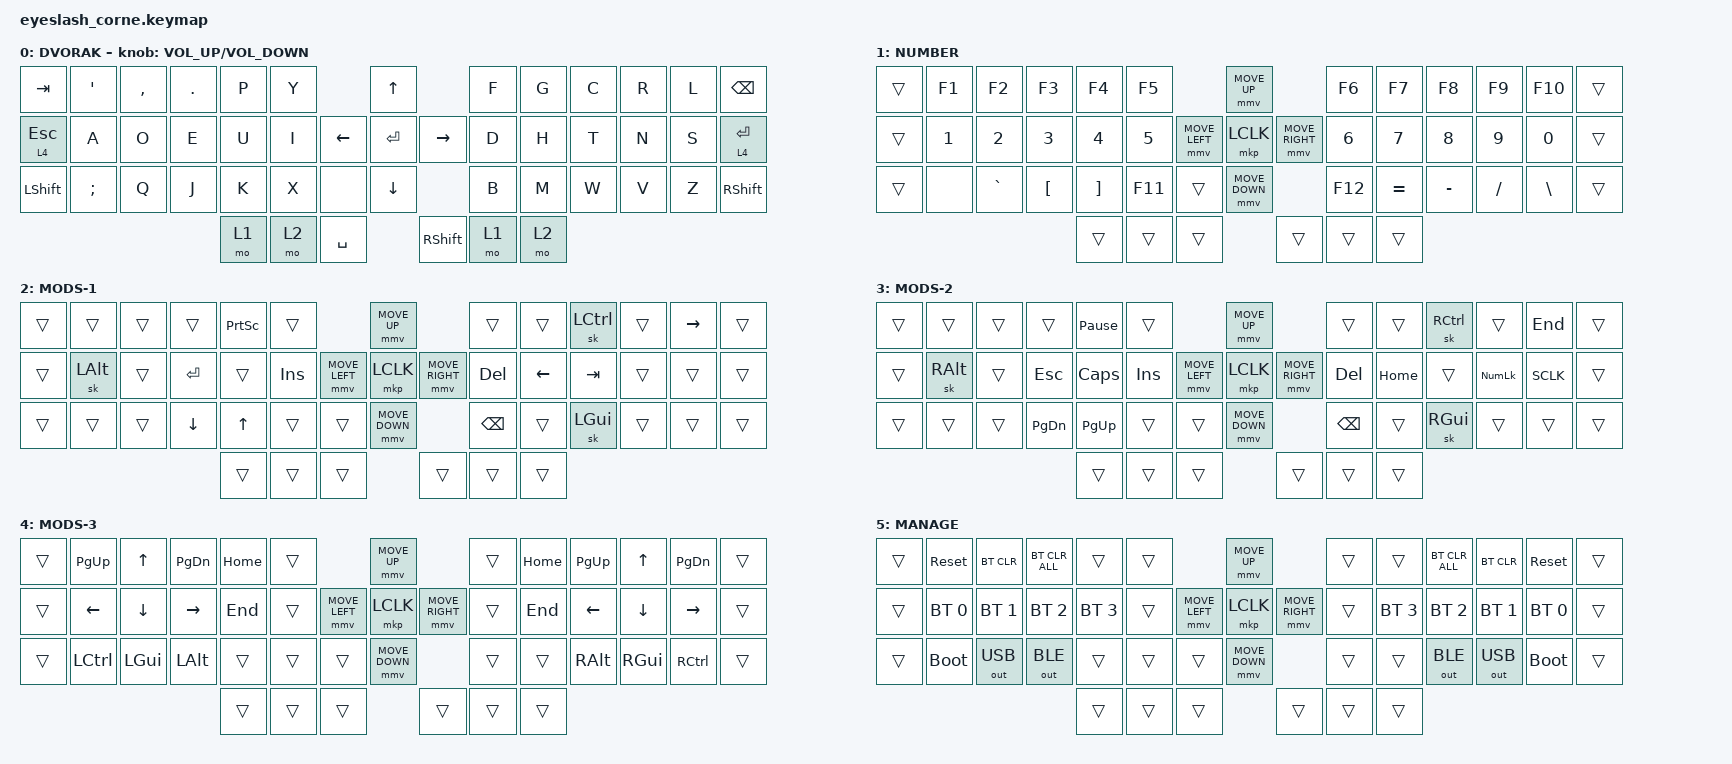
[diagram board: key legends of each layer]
#define ZMK_POINTING_DEFAULT_MOVE_VAL 1200  // 600
#define ZMK_POINTING_DEFAULT_SCRL_VAL 25   // 10

#include <input/processors.dtsi>
#include <zephyr/dt-bindings/input/input-event-codes.h>
#include <behaviors.dtsi>
#include <dt-bindings/zmk/bt.h>
#include <dt-bindings/zmk/ext_power.h>
#include <dt-bindings/zmk/keys.h>
#include <dt-bindings/zmk/pointing.h>
#include <dt-bindings/zmk/outputs.h>
#include <dt-bindings/zmk/rgb.h>

&mmv_input_listener { input-processors = <&zip_xy_scaler 2 1>; };

&msc_input_listener { input-processors = <&zip_scroll_scaler 2 1>; };

&msc {
    acceleration-exponent = <1>;      // 0
    time-to-max-speed-ms = <100>;       // 300
    delay-ms = <0>;                   // 0
};

&mmv {
    time-to-max-speed-ms = <500>;
    acceleration-exponent = <1>;
    trigger-period-ms = <16>;
};


/ {
    conditional_layers {
        compatible = "zmk,conditional-layers";
        tri_layer_mods2 {
            if-layers = <1 2>;
            then-layer = <3>;
        };
        tri_layer_mgmt {
            if-layers = <3 4>;
            then-layer = <5>;
        };
    };

    keymap {
        compatible = "zmk,keymap";

        layer_0 {
            display-name = "DVORAK";
            bindings = <
&kp TAB    &kp SQT     &kp COMMA   &kp DOT     &kp P       &kp Y                        &kp UP                           &kp F        &kp G         &kp C        &kp R        &kp L       &kp BSPC
&lt 4 ESC  &kp A       &kp O       &kp E       &kp U       &kp I       &kp LEFT         &kp ENTER         &kp RIGHT      &kp D        &kp H         &kp T        &kp N        &kp S       &lt 4 ENTER
&kp LSHFT  &kp SEMI    &kp Q       &kp J       &kp K       &kp X       &none            &kp DOWN                         &kp B        &kp M         &kp W        &kp V        &kp Z       &kp RSHFT
                                               &mo 1       &mo 2       &kp SPACE                            &kp RSHFT    &mo 1        &mo 2
            >;
            sensor-bindings = <&inc_dec_kp C_VOLUME_UP C_VOLUME_DOWN>;
        };

        layer_1 {
            display-name = "NUMBER";
            bindings = <
&trans     &kp F1      &kp F2      &kp F3      &kp F4      &kp F5                       &mmv MOVE_UP                     &kp F6       &kp F7        &kp F8        &kp F9      &kp F10     &trans
&trans     &kp N1      &kp N2      &kp N3      &kp N4      &kp N5       &mmv MOVE_LEFT  &mkp LCLK       &mmv MOVE_RIGHT  &kp N6       &kp N7        &kp N8        &kp N9      &kp N0      &trans
&trans     &none       &kp GRAVE   &kp LBKT    &kp RBKT    &kp F11      &trans          &mmv MOVE_DOWN                   &kp F12      &kp EQUAL     &kp MINUS     &kp FSLH    &kp BSLH    &trans
                                               &trans      &trans       &trans                             &trans        &trans       &trans
            >;
        };

        layer_2 {
            display-name = "MODS-1";
            bindings = <
&trans     &trans      &trans      &trans      &kp PSCRN   &trans                       &mmv MOVE_UP                     &trans       &trans       &sk LCTRL    &trans       &kp RIGHT    &trans
&trans     &sk LALT    &trans      &kp ENTER   &trans      &kp INS      &mmv MOVE_LEFT  &mkp LCLK       &mmv MOVE_RIGHT  &kp DELETE   &kp LEFT     &kp TAB      &trans       &trans       &trans
&trans     &trans      &trans      &kp DOWN    &kp UP      &trans       &trans          &mmv MOVE_DOWN                   &kp BSPC     &trans       &sk LGUI     &trans       &trans       &trans
                                               &trans      &trans       &trans                              &trans       &trans       &trans
            >;
        };

        layer_3 {
            display-name = "MODS-2";
            bindings = <
&trans     &trans      &trans      &trans      &kp PAUSE_BREAK &trans                   &mmv MOVE_UP                     &trans       &trans       &sk RCTRL    &trans       &kp END      &trans
&trans     &sk RALT    &trans      &kp ESC     &kp CAPS    &kp INS      &mmv MOVE_LEFT  &mkp LCLK       &mmv MOVE_RIGHT  &kp DELETE   &kp HOME     &trans       &kp KP_NLCK  &kp SCLK     &trans
&trans     &trans      &trans      &kp PG_DN   &kp PG_UP   &trans       &trans          &mmv MOVE_DOWN                   &kp BSPC     &trans       &sk RGUI     &trans       &trans       &trans
                                               &trans      &trans       &trans                              &trans       &trans       &trans
            >;
        };

        layer_4 {
            display-name = "MODS-3";
            bindings = <
&trans     &kp PG_UP   &kp UP      &kp PG_DN   &kp HOME    &trans                       &mmv MOVE_UP                     &trans       &kp HOME     &kp PG_UP   &kp UP      &kp PG_DN      &trans
&trans     &kp LEFT    &kp DOWN    &kp RIGHT   &kp END     &trans       &mmv MOVE_LEFT  &mkp LCLK       &mmv MOVE_RIGHT  &trans       &kp END      &kp LEFT    &kp DOWN    &kp RIGHT      &trans
&trans     &kp LCTRL   &kp LGUI    &kp LALT    &trans      &trans       &trans          &mmv MOVE_DOWN                   &trans       &trans       &kp RALT    &kp RGUI    &kp RCTRL      &trans
                                               &trans      &trans       &trans                              &trans       &trans       &trans
            >;
        };

        layer_5 {
            display-name = "MANAGE";
            bindings = <
&trans     &sys_reset   &bt BT_CLR   &bt BT_CLR_ALL &trans     &trans                         &mmv MOVE_UP                     &trans       &trans     &bt BT_CLR_ALL &bt BT_CLR   &sys_reset   &trans
&trans     &bt BT_SEL 0 &bt BT_SEL 1 &bt BT_SEL 2 &bt BT_SEL 3 &trans         &mmv MOVE_LEFT  &mkp LCLK       &mmv MOVE_RIGHT  &trans       &bt BT_SEL 3 &bt BT_SEL 2 &bt BT_SEL 1 &bt BT_SEL 0 &trans
&trans     &bootloader  &out OUT_USB &out OUT_BLE &trans       &trans         &trans          &mmv MOVE_DOWN                   &trans       &trans       &out OUT_BLE &out OUT_USB &bootloader  &trans
                                                  &trans       &trans         &trans                               &trans      &trans       &trans
            >;
        };
    };
};
